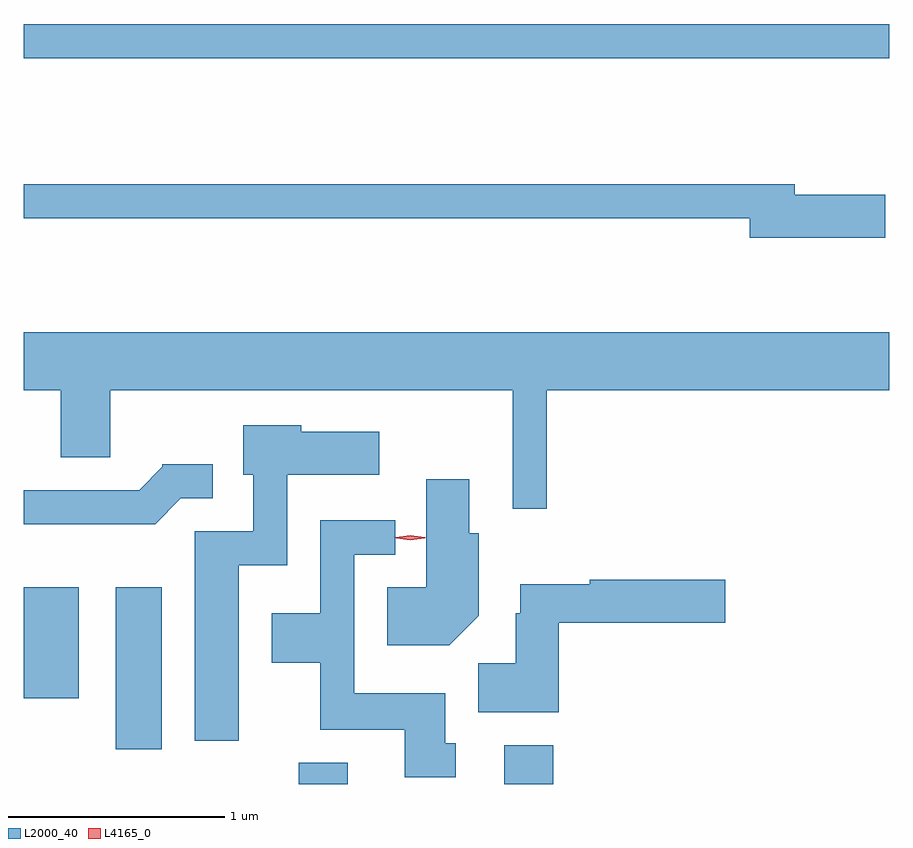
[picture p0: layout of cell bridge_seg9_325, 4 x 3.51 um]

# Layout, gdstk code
import gdstk
lib = gdstk.Library(unit=1e-6, precision=1e-09)
def R(c, l, rs):  # rectangles x0, y0, x1, y1
    for r in rs: c.add(gdstk.rectangle(r[:2], r[2:], *l))
def P(c, l, *ps):  # polygons
    for p in ps: c.add(gdstk.Polygon(p, *l))
L2000_40 = (2000, 40)
L4165_0 = (4165, 0)

bridge_seg9_325 = lib.new_cell('bridge_seg9_325')
R(bridge_seg9_325, L2000_40, [(785.201,2054.375,785.429,2054.474), (786.151,2054.375,786.379,2054.554), (784.356,2054.536,784.569,2055.284), (783.931,2054.771,784.184,2055.284), (783.931,2057.731,787.931,2057.889)])
P(bridge_seg9_325, L2000_40, [(787.914,2057.099),(787.494,2057.099),(787.494,2057.149),(783.931,2057.149),(783.931,2056.991),(787.286,2056.991),(787.286,2056.901),(787.914,2056.901)],
  [(786.349,2056.196),(787.931,2056.196),(787.931,2056.464),(783.931,2056.464),(783.931,2056.196),(784.101,2056.196),(784.101,2055.886),(784.329,2055.886),(784.329,2056.196),(786.191,2056.196),(786.191,2055.648),(786.349,2055.648)],
  [(784.924,2055.386),(785.149,2055.386),(785.149,2055.806),(785.574,2055.806),(785.574,2056.004),(785.214,2056.004),(785.214,2056.034),(784.946,2056.034),(784.946,2055.806),(784.991,2055.806),(784.991,2055.544),(784.721,2055.544),(784.721,2054.576),(784.924,2054.576)],
  [(784.657,2055.696),(784.803,2055.696),(784.803,2055.854),(784.57,2055.854),(784.57,2055.841),(784.464,2055.734),(783.931,2055.734),(783.931,2055.576),(784.537,2055.576)],
  [(786.034,2055.154),(786.034,2055.534),(785.989,2055.534),(785.989,2055.784),(785.791,2055.784),(785.791,2055.284),(785.611,2055.284),(785.611,2055.016),(785.897,2055.016)],
  [(785.928,2054.564),(785.879,2054.564),(785.879,2054.794),(785.459,2054.794),(785.459,2055.436),(785.648,2055.436),(785.648,2055.594),(785.301,2055.594),(785.301,2055.164),(785.076,2055.164),(785.076,2054.936),(785.301,2054.936),(785.301,2054.626),(785.691,2054.626),(785.691,2054.406),(785.928,2054.406)],
  [(786.404,2055.121),(787.174,2055.121),(787.174,2055.319),(786.546,2055.319),(786.546,2055.299),(786.226,2055.299),(786.226,2055.164),(786.206,2055.164),(786.206,2054.934),(786.031,2054.934),(786.031,2054.706),(786.404,2054.706)])
P(bridge_seg9_325, L4165_0, [(785.718,2055.503),(785.652,2055.512),(785.652,2055.513),(785.652,2055.513),(785.718,2055.523),(785.785,2055.513),(785.785,2055.513),(785.785,2055.512)],
  [(785.718,2055.505),(785.649,2055.514),(785.648,2055.515),(785.649,2055.515),(785.718,2055.525),(785.787,2055.515),(785.787,2055.515),(785.787,2055.514)])

lib.write_gds('bridge_seg9_325.gds')
